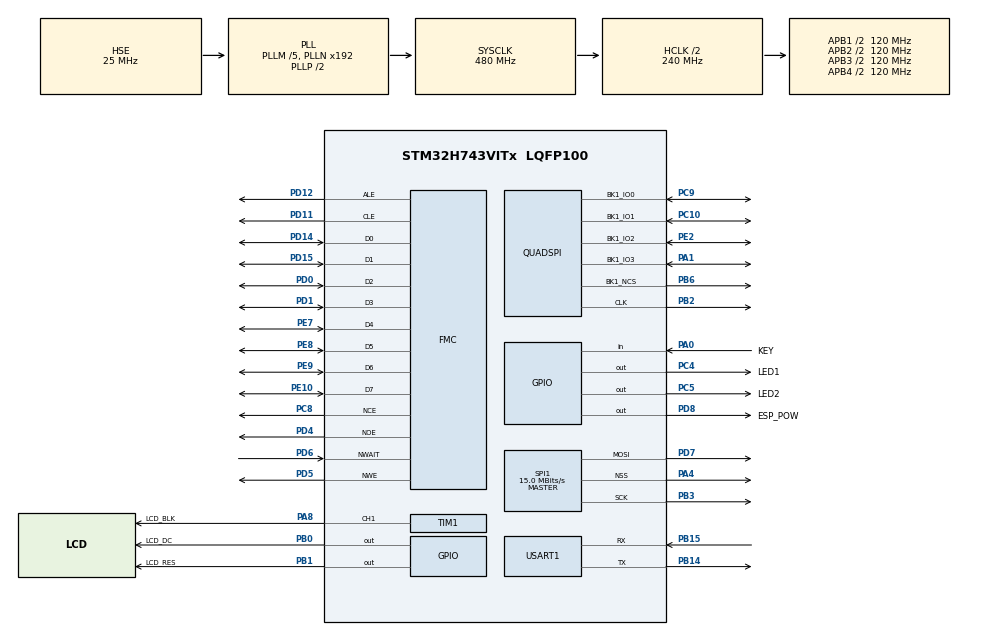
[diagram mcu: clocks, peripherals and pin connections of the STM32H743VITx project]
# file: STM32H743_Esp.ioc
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CRC.DefaultInitValueUse=DEFAULT_INIT_VALUE_ENABLE
CRC.DefaultPolynomialUse=DEFAULT_POLYNOMIAL_ENABLE
CRC.InputDataFormat=CRC_INPUTDATA_FORMAT_WORDS
CRC.InputDataInversionMode=CRC_INPUTDATA_INVERSION_NONE
CRC.OutputDataInversionMode=CRC_OUTPUTDATA_INVERSION_DISABLE
Dma.Request0=SPI1_TX
Dma.Request1=USART1_RX
Dma.Request2=USART1_TX
Dma.SPI1_TX.0.Direction=DMA_MEMORY_TO_PERIPH
Dma.SPI1_TX.0.EventEnable=DISABLE
Dma.SPI1_TX.0.FIFOMode=DMA_FIFOMODE_DISABLE
Dma.SPI1_TX.0.Instance=DMA1_Stream0
Dma.SPI1_TX.0.MemDataAlignment=DMA_MDATAALIGN_HALFWORD
Dma.SPI1_TX.0.MemInc=DMA_MINC_ENABLE
Dma.SPI1_TX.0.Mode=DMA_NORMAL
Dma.SPI1_TX.0.PeriphDataAlignment=DMA_PDATAALIGN_HALFWORD
Dma.SPI1_TX.0.PeriphInc=DMA_PINC_DISABLE
Dma.SPI1_TX.0.Polarity=HAL_DMAMUX_REQ_GEN_RISING
Dma.SPI1_TX.0.Priority=DMA_PRIORITY_LOW
Dma.SPI1_TX.0.RequestNumber=1
Dma.SPI1_TX.0.SignalID=NONE
Dma.SPI1_TX.0.SyncEnable=DISABLE
Dma.SPI1_TX.0.SyncPolarity=HAL_DMAMUX_SYNC_NO_EVENT
Dma.SPI1_TX.0.SyncRequestNumber=1
Dma.SPI1_TX.0.SyncSignalID=NONE
Dma.USART1_RX.1.Direction=DMA_PERIPH_TO_MEMORY
Dma.USART1_RX.1.EventEnable=DISABLE
Dma.USART1_RX.1.FIFOMode=DMA_FIFOMODE_DISABLE
Dma.USART1_RX.1.Instance=DMA1_Stream1
Dma.USART1_RX.1.MemDataAlignment=DMA_MDATAALIGN_BYTE
Dma.USART1_RX.1.MemInc=DMA_MINC_ENABLE
Dma.USART1_RX.1.Mode=DMA_CIRCULAR
Dma.USART1_RX.1.PeriphDataAlignment=DMA_PDATAALIGN_BYTE
Dma.USART1_RX.1.PeriphInc=DMA_PINC_DISABLE
Dma.USART1_RX.1.Polarity=HAL_DMAMUX_REQ_GEN_RISING
Dma.USART1_RX.1.Priority=DMA_PRIORITY_VERY_HIGH
Dma.USART1_RX.1.RequestNumber=1
Dma.USART1_RX.1.SignalID=NONE
Dma.USART1_RX.1.SyncEnable=DISABLE
Dma.USART1_RX.1.SyncPolarity=HAL_DMAMUX_SYNC_NO_EVENT
Dma.USART1_RX.1.SyncRequestNumber=1
Dma.USART1_RX.1.SyncSignalID=NONE
Dma.USART1_TX.2.Direction=DMA_MEMORY_TO_PERIPH
Dma.USART1_TX.2.EventEnable=DISABLE
Dma.USART1_TX.2.FIFOMode=DMA_FIFOMODE_DISABLE
Dma.USART1_TX.2.Instance=DMA1_Stream2
Dma.USART1_TX.2.MemDataAlignment=DMA_MDATAALIGN_BYTE
Dma.USART1_TX.2.MemInc=DMA_MINC_ENABLE
Dma.USART1_TX.2.Mode=DMA_NORMAL
Dma.USART1_TX.2.PeriphDataAlignment=DMA_PDATAALIGN_BYTE
Dma.USART1_TX.2.PeriphInc=DMA_PINC_DISABLE
Dma.USART1_TX.2.Polarity=HAL_DMAMUX_REQ_GEN_RISING
Dma.USART1_TX.2.Priority=DMA_PRIORITY_VERY_HIGH
Dma.USART1_TX.2.RequestNumber=1
Dma.USART1_TX.2.SignalID=NONE
Dma.USART1_TX.2.SyncEnable=DISABLE
Dma.USART1_TX.2.SyncPolarity=HAL_DMAMUX_SYNC_NO_EVENT
Dma.USART1_TX.2.SyncRequestNumber=1
Dma.USART1_TX.2.SyncSignalID=NONE
FMC.AttributeSpaceHiZSetupTime1=2
FMC.AttributeSpaceHoldSetupTime1=3
FMC.AttributeSpaceSetupTime1=2
FMC.AttributeSpaceWaitSetupTime1=4
FMC.CommonSpaceHiZSetupTime1=2
FMC.CommonSpaceHoldSetupTime1=3
FMC.CommonSpaceSetupTime1=2
FMC.CommonSpaceWaitSetupTime1=4
FMC.ECCPageSize1=FMC_NAND_ECC_PAGE_SIZE_2048BYTE
FMC.NandBlockNbr1=2048
FMC.NandBlockSize1=2048*64
FMC.NandPageSize1=2048+64
FMC.NandPlaneNbr1=2
FMC.NandPlaneSize1=4096
FMC.NandSpareAreaSize1=64
Mcu.Family=STM32H7
Mcu.Name=STM32H743VITx
Mcu.Package=LQFP100
Mdma.MDMA_Channel1.QUADSPI_FIFO_TH.0.BlockCount=0
Mdma.MDMA_Channel1.QUADSPI_FIFO_TH.0.BlockDataLength=0
Mdma.MDMA_Channel1.QUADSPI_FIFO_TH.0.BufferTransferLength=128
Mdma.MDMA_Channel1.QUADSPI_FIFO_TH.0.CircularMode=MDMA_LINEAR_LIST
Mdma.MDMA_Channel1.QUADSPI_FIFO_TH.0.DataAlignment=MDMA_DATAALIGN_PACKENABLE
Mdma.MDMA_Channel1.QUADSPI_FIFO_TH.0.DestBlockAddressOffset=0
Mdma.MDMA_Channel1.QUADSPI_FIFO_TH.0.DestBurst=MDMA_DEST_BURST_SINGLE
Mdma.MDMA_Channel1.QUADSPI_FIFO_TH.0.DestDataSize=MDMA_DEST_DATASIZE_BYTE
Mdma.MDMA_Channel1.QUADSPI_FIFO_TH.0.DestinationInc=MDMA_DEST_INC_DISABLE
Mdma.MDMA_Channel1.QUADSPI_FIFO_TH.0.DstAddress=0
Mdma.MDMA_Channel1.QUADSPI_FIFO_TH.0.Endianness=MDMA_LITTLE_ENDIANNESS_PRESERVE
Mdma.MDMA_Channel1.QUADSPI_FIFO_TH.0.Instance=MDMA_Channel1
Mdma.MDMA_Channel1.QUADSPI_FIFO_TH.0.MaskAddress=0
Mdma.MDMA_Channel1.QUADSPI_FIFO_TH.0.MaskData=0
Mdma.MDMA_Channel1.QUADSPI_FIFO_TH.0.Priority=MDMA_PRIORITY_VERY_HIGH
Mdma.MDMA_Channel1.QUADSPI_FIFO_TH.0.Rank=First
Mdma.MDMA_Channel1.QUADSPI_FIFO_TH.0.SourceBlockAddressOffset=0
Mdma.MDMA_Channel1.QUADSPI_FIFO_TH.0.SourceBurst=MDMA_SOURCE_BURST_SINGLE
Mdma.MDMA_Channel1.QUADSPI_FIFO_TH.0.SourceDataSize=MDMA_SRC_DATASIZE_BYTE
Mdma.MDMA_Channel1.QUADSPI_FIFO_TH.0.SourceInc=MDMA_SRC_INC_BYTE
Mdma.MDMA_Channel1.QUADSPI_FIFO_TH.0.SrcAddress=0
Mdma.MDMA_Channel1.QUADSPI_FIFO_TH.0.TransferTriggerMode=MDMA_BUFFER_TRANSFER
Mdma.MDMA_Channel1.Request0=QUADSPI_FIFO_TH
Mdma.MDMA_Channel1.RequestsNb=1
Mdma.RequestSet0=MDMA_Channel1
Mdma.RequestSetsNb=1
NVIC.DMA1_Stream0_IRQn=true\:1\:0\:true\:false\:true\:false\:true\:true
NVIC.DMA1_Stream1_IRQn=true\:0\:0\:false\:false\:true\:false\:true\:true
NVIC.DMA1_Stream2_IRQn=true\:0\:0\:false\:false\:true\:false\:true\:true
NVIC.MDMA_IRQn=true\:0\:0\:false\:false\:true\:false\:true\:true
NVIC.PriorityGroup=NVIC_PRIORITYGROUP_4
NVIC.QUADSPI_IRQn=true\:0\:0\:true\:false\:true\:true\:true\:true
NVIC.SPI1_IRQn=true\:0\:0\:true\:false\:true\:true\:true\:true
NVIC.TIM8_BRK_TIM12_IRQn=true\:0\:0\:false\:false\:true\:true\:true\:true
NVIC.TIM8_TRG_COM_TIM14_IRQn=true\:5\:0\:true\:false\:true\:true\:true\:true
NVIC.TIM8_UP_TIM13_IRQn=true\:0\:0\:false\:false\:true\:true\:true\:true
NVIC.USART1_IRQn=true\:0\:0\:false\:false\:true\:true\:true\:true
PA0.GPIO_Label=KEY
PA0.GPIO_PuPd=GPIO_PULLDOWN
PA0.Signal=GPIO_Input
PA1.GPIO_Speed=GPIO_SPEED_FREQ_VERY_HIGH
PA1.Mode=Single Bank 1
PA1.Signal=QUADSPI_BK1_IO3
PA13\ (JTMS/SWDIO).Mode=Serial_Wire
PA13\ (JTMS/SWDIO).Signal=DEBUG_JTMS-SWDIO
PA14\ (JTCK/SWCLK).Mode=Serial_Wire
PA14\ (JTCK/SWCLK).Signal=DEBUG_JTCK-SWCLK
PA4.GPIO_Speed=GPIO_SPEED_FREQ_VERY_HIGH
PA4.Mode=NSS_Signal_Hard_Output
PA4.Signal=SPI1_NSS
PA8.GPIO_Label=LCD_BLK
PA8.Signal=S_TIM1_CH1
PB0.GPIO_Label=LCD_DC
PB0.GPIO_Speed=GPIO_SPEED_FREQ_VERY_HIGH
PB0.Signal=GPIO_Output
PB1.GPIO_Label=LCD_RES
PB1.GPIO_Speed=GPIO_SPEED_FREQ_VERY_HIGH
PB1.Signal=GPIO_Output
PB14.GPIO_PuPd=GPIO_PULLUP
PB14.Mode=Asynchronous
PB14.Signal=USART1_TX
PB15.GPIO_PuPd=GPIO_PULLUP
PB15.Mode=Asynchronous
PB15.Signal=USART1_RX
PB2.GPIO_Speed=GPIO_SPEED_FREQ_VERY_HIGH
PB2.Mode=Single Bank 1
PB2.Signal=QUADSPI_CLK
PB3\ (JTDO/TRACESWO).GPIO_Speed=GPIO_SPEED_FREQ_VERY_HIGH
PB3\ (JTDO/TRACESWO).Mode=TX_Only_Simplex_Unidirect_Master
PB3\ (JTDO/TRACESWO).Signal=SPI1_SCK
PB6.GPIO_Speed=GPIO_SPEED_FREQ_VERY_HIGH
PB6.Mode=Single Bank 1
PB6.Signal=QUADSPI_BK1_NCS
PC10.GPIO_Speed=GPIO_SPEED_FREQ_VERY_HIGH
PC10.Mode=Single Bank 1
PC10.Signal=QUADSPI_BK1_IO1
PC14-OSC32_IN\ (OSC32_IN).Mode=LSE-External-Oscillator
PC14-OSC32_IN\ (OSC32_IN).Signal=RCC_OSC32_IN
PC15-OSC32_OUT\ (OSC32_OUT).Mode=LSE-External-Oscillator
PC15-OSC32_OUT\ (OSC32_OUT).Signal=RCC_OSC32_OUT
PC4.GPIO_Label=LED1
PC4.GPIO_PuPd=GPIO_PULLUP
PC4.PinState=GPIO_PIN_SET
PC4.Signal=GPIO_Output
PC5.GPIO_Label=LED2
PC5.GPIO_PuPd=GPIO_PULLUP
PC5.PinState=GPIO_PIN_SET
PC5.Signal=GPIO_Output
PC8.Mode=NandChipSelect3_1
PC8.Signal=FMC_NCE
PC9.GPIO_PuPd=GPIO_NOPULL
PC9.GPIO_Speed=GPIO_SPEED_FREQ_VERY_HIGH
PC9.Mode=Single Bank 1
PC9.Signal=QUADSPI_BK1_IO0
PD0.Signal=FMC_D2_DA2
PD1.Signal=FMC_D3_DA3
PD11.Signal=FMC_A16_CLE
PD12.Signal=FMC_A17_ALE
PD14.Signal=FMC_D0_DA0
PD15.Signal=FMC_D1_DA1
PD4.Signal=FMC_NOE
PD5.Signal=FMC_NWE
PD6.GPIO_PuPd=GPIO_PULLUP
PD6.Signal=FMC_NWAIT
PD7.GPIO_Speed=GPIO_SPEED_FREQ_VERY_HIGH
PD7.Mode=TX_Only_Simplex_Unidirect_Master
PD7.Signal=SPI1_MOSI
PD8.GPIO_Label=ESP_POW
PD8.GPIO_PuPd=GPIO_PULLDOWN
PD8.Signal=GPIO_Output
PE10.Signal=FMC_D7_DA7
PE2.GPIO_Speed=GPIO_SPEED_FREQ_VERY_HIGH
PE2.Mode=Single Bank 1
PE2.Signal=QUADSPI_BK1_IO2
PE7.Signal=FMC_D4_DA4
PE8.Signal=FMC_D5_DA5
PE9.Signal=FMC_D6_DA6
PH0-OSC_IN\ (PH0).Mode=HSE-External-Oscillator
PH0-OSC_IN\ (PH0).Signal=RCC_OSC_IN
PH1-OSC_OUT\ (PH1).Mode=HSE-External-Oscillator
PH1-OSC_OUT\ (PH1).Signal=RCC_OSC_OUT
ProjectManager.HeapSize=0x200
ProjectManager.StackSize=0x800
ProjectManager.TargetToolchain=MDK-ARM V5.32
QUADSPI.ChipSelectHighTime=QSPI_CS_HIGH_TIME_2_CYCLE
QUADSPI.ClockPrescaler=2-1
QUADSPI.FifoThreshold=32
QUADSPI.FlashSize=23+1
QUADSPI.SampleShifting=QSPI_SAMPLE_SHIFTING_HALFCYCLE
RCC.ADCFreq_Value=120000000
RCC.APB1Freq_Value=120000000
RCC.APB2Freq_Value=120000000
RCC.APB3Freq_Value=120000000
RCC.APB4Freq_Value=120000000
RCC.CortexFreq_Value=480000000
RCC.D1PPRE=RCC_APB3_DIV2
RCC.D2PPRE1=RCC_APB1_DIV2
RCC.D2PPRE2=RCC_APB2_DIV2
RCC.D3PPRE=RCC_APB4_DIV2
RCC.DIVM1=5
RCC.DIVM2=5
RCC.DIVM3=25
RCC.DIVN1=192
RCC.DIVN2=48
RCC.DIVN3=240
RCC.DIVQ1=5
RCC.DIVQ3=5
RCC.DIVR1=5
RCC.HCLKFreq_Value=240000000
RCC.HPRE=RCC_HCLK_DIV2
RCC.PLL2FRACN=0
RCC.PLL3FRACN=0
RCC.PLLFRACN=0
RCC.PLLSourceVirtual=RCC_PLLSOURCE_HSE
RCC.QSPICLockSelection=RCC_QSPICLKSOURCE_PLL
RCC.SPI123CLockSelection=RCC_SPI123CLKSOURCE_PLL2
RCC.SYSCLKFreq_VALUE=480000000
RCC.SYSCLKSource=RCC_SYSCLKSOURCE_PLLCLK
RCC.USBCLockSelection=RCC_USBCLKSOURCE_PLL3
RCC.USBFreq_Value=48000000
SH.FMC_A16_CLE.0=FMC_CLE,8b-dmux1
SH.FMC_A17_ALE.0=FMC_ALE,8b-dmux1
SH.FMC_D0_DA0.0=FMC_D0,8b-dmux1
SH.FMC_D1_DA1.0=FMC_D1,8b-dmux1
SH.FMC_D2_DA2.0=FMC_D2,8b-dmux1
SH.FMC_D3_DA3.0=FMC_D3,8b-dmux1
SH.FMC_D4_DA4.0=FMC_D4,8b-dmux1
SH.FMC_D5_DA5.0=FMC_D5,8b-dmux1
SH.FMC_D6_DA6.0=FMC_D6,8b-dmux1
SH.FMC_D7_DA7.0=FMC_D7,8b-dmux1
SH.FMC_NOE.0=FMC_NOE,8b-dmux1
SH.FMC_NWAIT.0=FMC_NWAIT,Wait1
SH.FMC_NWE.0=FMC_NWE,8b-dmux1
SH.S_TIM1_CH1.0=TIM1_CH1,PWM Generation1 CH1
SPI1.BaudRatePrescaler=SPI_BAUDRATEPRESCALER_8
SPI1.CalculateBaudRate=15.0 MBits/s
SPI1.DataSize=SPI_DATASIZE_8BIT
SPI1.Direction=SPI_DIRECTION_2LINES_TXONLY
SPI1.Mode=SPI_MODE_MASTER
SPI1.VirtualNSS=VM_NSSHARD
SPI1.VirtualType=VM_MASTER
TIM1.Channel-PWM\ Generation1\ CH1=TIM_CHANNEL_1
TIM1.Period=1000-1
TIM1.Prescaler=24-1
TIM12.Period=1000-1
TIM12.Prescaler=24000-1
TIM13.AutoReloadPreload=TIM_AUTORELOAD_PRELOAD_ENABLE
TIM13.Period=200-1
TIM13.Prescaler=6000-1
TIM14.AutoReloadPreload=TIM_AUTORELOAD_PRELOAD_ENABLE
TIM14.Period=2400-1
TIM14.Prescaler=5-1
USART1.AutoBaudRateEnableParam=UART_ADVFEATURE_AUTOBAUDRATE_DISABLE
USART1.VirtualMode-Asynchronous=VM_ASYNC
VP_CRC_VS_CRC.Mode=CRC_Activate
VP_TIM12_VS_ClockSourceINT.Mode=Internal
VP_TIM13_VS_ClockSourceINT.Mode=Enable_Timer
VP_TIM14_VS_ClockSourceINT.Mode=Enable_Timer
VP_TIM1_VS_ClockSourceINT.Mode=Internal
board=custom

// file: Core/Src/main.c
/* USER CODE BEGIN Header */
/**
  ******************************************************************************
  * @file           : main.c
  * @brief          : Main program body
  ******************************************************************************
  * @attention
  *
  * Copyright (c) 2022 STMicroelectronics.
  * All rights reserved.
  *
  * This software is licensed under terms that can be found in the LICENSE file
  * in the root directory of this software component.
  * If no LICENSE file comes with this software, it is provided AS-IS.
  *
  ******************************************************************************
  */
/* USER CODE END Header */
#include "main.h"
#include "crc.h"
#include "dma.h"
#include "mdma.h"
#include "quadspi.h"
#include "spi.h"
#include "tim.h"
#include "usart.h"
#include "gpio.h"
#include "fmc.h"

/* USER CODE BEGIN Includes */
#include "Bsp_ESP8266.h"
#include "Network.h"
#include "bsp_Demo.h"

/* USER CODE END Includes */

void SystemClock_Config(void);

int main(void)
{

  /* MCU Configuration--------------------------------------------------------*/

  /* Reset of all peripherals, Initializes the Flash interface and the Systick. */
  HAL_Init();

  /* Configure the system clock */
  SystemClock_Config();

  /* Initialize all configured peripherals */
  MX_GPIO_Init();
  MX_DMA_Init();
  MX_USART1_UART_Init();
  MX_QUADSPI_Init();
  MX_MDMA_Init();
  MX_SPI1_Init();
  MX_FMC_Init();
  MX_TIM14_Init();
  MX_TIM1_Init();
  MX_CRC_Init();
  MX_TIM13_Init();
  MX_TIM12_Init();
  /* USER CODE BEGIN 2 */
//     HAL_TIMEx_PWMN_Start(&htim1 , TIM_CHANNEL_1);
//  HAL_TIM_Base_Start_IT(&htim12);

//    HAL_GPIO_WritePin(ESP_POW_GPIO_Port, ESP_POW_Pin, GPIO_PIN_SET);
//
//      HAL_GPIO_WritePin(ESP_POW_GPIO_Port, ESP_POW_Pin, GPIO_PIN_RESET);
//     HAL_Delay(3000);
//     Bsp_ESP8266_PowerOn();

// NetWork_APUconfig();
//  WIFI_AP_T WIFI_AP[5];
//  Bsp_ESP8266_ScanAP(WIFI_AP , 5);
////
//  Bsp_ESP8266_SetWiFiMode(1);
//  Bsp_ESP8266_JoinAP("Moujiti" , "moujiti7222" , 5000);
//  Bsp_ESP8266_GetLocalIP(ip , mac);

//  HAL_GPIO_WritePin(ESP_POW_GPIO_Port, ESP_POW_Pin, GPIO_PIN_RESET);
//  Bsp_ESP8266_PowerOn();
//  Bsp_ESP8266_Restore();

  Bsp_LCD_Init();
  Bsp_LCD_FullColor(0x5555);
  HAL_Delay(10);
  Bsp_LCD_FullColor(0xffe0);

  /* USER CODE END 2 */

  /* Infinite loop */
  /* USER CODE BEGIN WHILE */

while (1)
  {

    //HAL_GPIO_WritePin(ESP_POW_GPIO_Port, ESP_POW_Pin, GPIO_PIN_RESET);

    //Bsp_ESP8266_PowerOn();
    Bsp_LCD_FullColor(0x0000);
    Bsp_LCD_FullColor(0xfe19 );
    Bsp_LCD_FullColor(0x8010 );
    Bsp_LCD_FullColor(0x1f );
    Bsp_LCD_FullColor(0x400 );

    /* USER CODE END WHILE */

  }
}

void SystemClock_Config(void)
{
  RCC_OscInitTypeDef RCC_OscInitStruct = {0};
  RCC_ClkInitTypeDef RCC_ClkInitStruct = {0};

  /** Supply configuration update enable
  */
  HAL_PWREx_ConfigSupply(PWR_LDO_SUPPLY);

  /** Configure the main internal regulator output voltage
  */
  __HAL_PWR_VOLTAGESCALING_CONFIG(PWR_REGULATOR_VOLTAGE_SCALE0);

  while(!__HAL_PWR_GET_FLAG(PWR_FLAG_VOSRDY)) {}

  /** Macro to configure the PLL clock source
  */
  __HAL_RCC_PLL_PLLSOURCE_CONFIG(RCC_PLLSOURCE_HSE);

  /** Initializes the RCC Oscillators according to the specified parameters
  * in the RCC_OscInitTypeDef structure.
  */
  RCC_OscInitStruct.OscillatorType = RCC_OSCILLATORTYPE_HSE;
  RCC_OscInitStruct.HSEState = RCC_HSE_ON;
  RCC_OscInitStruct.PLL.PLLState = RCC_PLL_ON;
  RCC_OscInitStruct.PLL.PLLSource = RCC_PLLSOURCE_HSE;
  RCC_OscInitStruct.PLL.PLLM = 5;
  RCC_OscInitStruct.PLL.PLLN = 192;
  RCC_OscInitStruct.PLL.PLLP = 2;
  RCC_OscInitStruct.PLL.PLLQ = 5;
  RCC_OscInitStruct.PLL.PLLR = 5;
  RCC_OscInitStruct.PLL.PLLRGE = RCC_PLL1VCIRANGE_2;
  RCC_OscInitStruct.PLL.PLLVCOSEL = RCC_PLL1VCOWIDE;
  RCC_OscInitStruct.PLL.PLLFRACN = 0;
  if (HAL_RCC_OscConfig(&RCC_OscInitStruct) != HAL_OK)
  {
    Error_Handler();
  }

  /** Initializes the CPU, AHB and APB buses clocks
  */
  RCC_ClkInitStruct.ClockType = RCC_CLOCKTYPE_HCLK|RCC_CLOCKTYPE_SYSCLK
                              |RCC_CLOCKTYPE_PCLK1|RCC_CLOCKTYPE_PCLK2
                              |RCC_CLOCKTYPE_D3PCLK1|RCC_CLOCKTYPE_D1PCLK1;
  RCC_ClkInitStruct.SYSCLKSource = RCC_SYSCLKSOURCE_PLLCLK;
  RCC_ClkInitStruct.SYSCLKDivider = RCC_SYSCLK_DIV1;
  RCC_ClkInitStruct.AHBCLKDivider = RCC_HCLK_DIV2;
  RCC_ClkInitStruct.APB3CLKDivider = RCC_APB3_DIV2;
  RCC_ClkInitStruct.APB1CLKDivider = RCC_APB1_DIV2;
  RCC_ClkInitStruct.APB2CLKDivider = RCC_APB2_DIV2;
  RCC_ClkInitStruct.APB4CLKDivider = RCC_APB4_DIV2;

  if (HAL_RCC_ClockConfig(&RCC_ClkInitStruct, FLASH_LATENCY_4) != HAL_OK)
  {
    Error_Handler();
  }
}

/* USER CODE BEGIN 4 */
void HAL_TIM_PeriodElapsedCallback(TIM_HandleTypeDef *htim)
{
  if (htim->Instance == TIM13)
  {

  }
	else if(htim->Instance == TIM12)
	{
    Bsp_ESP8266_Timer();
  }
}
/* USER CODE END 4 */

void Error_Handler(void)
{
  __disable_irq();
  while (1)
  {
  }
}
